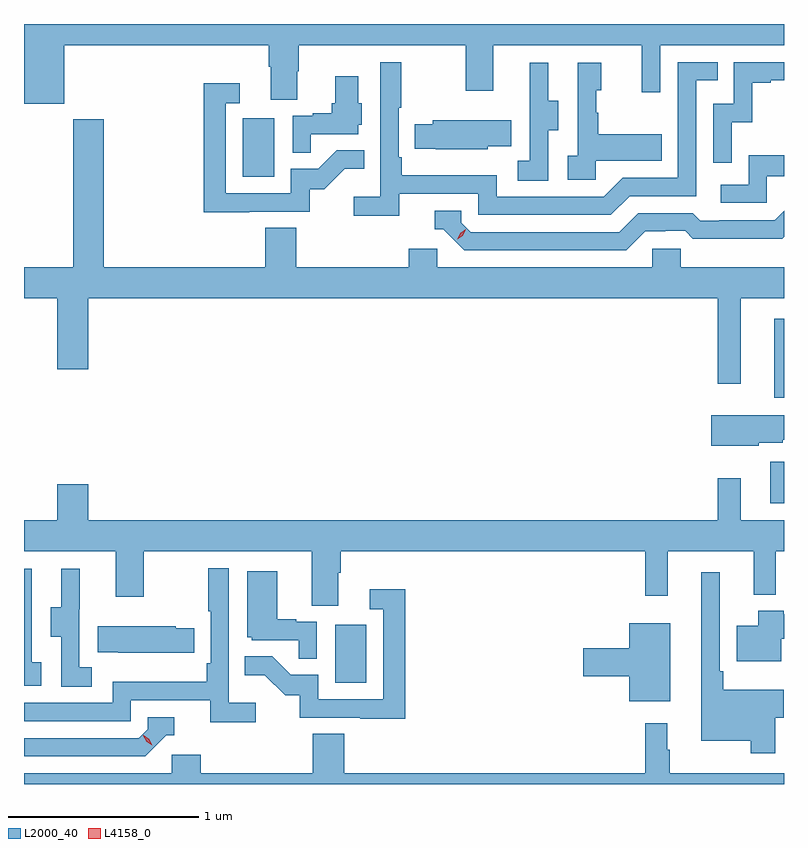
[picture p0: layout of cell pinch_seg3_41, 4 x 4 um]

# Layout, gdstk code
import gdstk
lib = gdstk.Library(unit=1e-6, precision=1e-09)
def R(c, l, rs):  # rectangles x0, y0, x1, y1
    for r in rs: c.add(gdstk.rectangle(r[:2], r[2:], *l))
def P(c, l, *ps):  # polygons
    for p in ps: c.add(gdstk.Polygon(p, *l))
L2000_40 = (2000, 40)
L4158_0 = (4158, 0)

pinch_seg3_41 = lib.new_cell('pinch_seg3_41')
R(pinch_seg3_41, L2000_40, [(1113.524,733.524,1113.688,733.831), (1115.813,734.469,1115.886,734.688), (1115.834,735.026,1115.886,735.442), (1113.038,736.188,1113.202,736.495)])
P(pinch_seg3_41, L2000_40, [(1112.098,736.88),(1113.173,736.88),(1113.173,736.768),(1113.185,736.768),(1113.185,736.594),(1113.325,736.594),(1113.325,736.743),(1113.333,736.743),(1113.333,736.88),(1114.21,736.88),(1114.21,736.641),(1114.357,736.641),(1114.357,736.88),(1115.138,736.88),(1115.138,736.632),(1115.235,736.632),(1115.235,736.88),(1115.886,736.88),(1115.886,736.992),(1111.886,736.992),(1111.886,736.571),(1112.098,736.571)],
  [(1113.86,736.098),(1114.278,736.098),(1114.278,735.987),(1114.975,735.987),(1115.074,736.086),(1115.424,736.086),(1115.424,736.695),(1115.537,736.695),(1115.537,736.791),(1115.328,736.791),(1115.328,736.182),(1115.037,736.182),(1114.938,736.083),(1114.374,736.083),(1114.374,736.195),(1113.875,736.195),(1113.875,736.291),(1113.858,736.291),(1113.858,736.552),(1113.871,736.552),(1113.871,736.792),(1113.762,736.792),(1113.762,736.084),(1113.621,736.084),(1113.621,735.982),(1113.86,735.982)],
  [(1115.61,736.475),(1115.72,736.475),(1115.72,736.683),(1115.815,736.683),(1115.815,736.695),(1115.886,736.695),(1115.886,736.791),(1115.622,736.791),(1115.622,736.572),(1115.514,736.572),(1115.514,736.263),(1115.61,736.263)],
  [(1114.896,736.271),(1115.243,736.271),(1115.243,736.411),(1114.909,736.411),(1114.909,736.526),(1114.899,736.526),(1114.899,736.644),(1114.924,736.644),(1114.924,736.789),(1114.8,736.789),(1114.8,736.298),(1114.749,736.298),(1114.749,736.173),(1114.896,736.173)],
  [(1114.644,736.432),(1114.699,736.432),(1114.699,736.587),(1114.645,736.587),(1114.645,736.789),(1114.547,736.789),(1114.547,736.575),(1114.548,736.575),(1114.548,736.271),(1114.485,736.271),(1114.485,736.168),(1114.644,736.168)],
  [(1113.395,736.413),(1113.646,736.413),(1113.646,736.461),(1113.664,736.461),(1113.664,736.575),(1113.646,736.575),(1113.646,736.717),(1113.524,736.717),(1113.524,736.575),(1113.506,736.575),(1113.506,736.522),(1113.407,736.522),(1113.407,736.509),(1113.3,736.509),(1113.3,736.315),(1113.395,736.315)],
  [(1113.071,736.005),(1113.39,736.005),(1113.39,736.122),(1113.466,736.122),(1113.573,736.229),(1113.677,736.229),(1113.677,736.328),(1113.533,736.328),(1113.435,736.23),(1113.291,736.23),(1113.291,736.101),(1112.949,736.101),(1112.949,736.575),(1113.022,736.575),(1113.022,736.681),(1112.833,736.681),(1112.833,736),(1113.071,736)],
  [(1115.659,735.548),(1115.886,735.548),(1115.886,735.712),(1115.343,735.712),(1115.343,735.81),(1115.193,735.81),(1115.193,735.712),(1114.062,735.712),(1114.062,735.81),(1113.911,735.81),(1113.911,735.712),(1113.32,735.712),(1113.32,735.92),(1113.155,735.92),(1113.155,735.712),(1112.306,735.712),(1112.306,736.492),(1112.146,736.492),(1112.146,735.712),(1111.886,735.712),(1111.886,735.548),(1112.06,735.548),(1112.06,735.174),(1112.224,735.174),(1112.224,735.548),(1115.538,735.548),(1115.538,735.099),(1115.659,735.099)],
  [(1114.326,736.349),(1114.451,736.349),(1114.451,736.486),(1114.037,736.486),(1114.037,736.464),(1113.943,736.464),(1113.943,736.335),(1114.054,736.335),(1114.054,736.334),(1114.326,736.334)],
  [(1115.796,736.191),(1115.886,736.191),(1115.886,736.3),(1115.7,736.3),(1115.7,736.146),(1115.553,736.146),(1115.553,736.05),(1115.796,736.05)],
  [(1115.155,735.9),(1115.262,735.9),(1115.262,735.903),(1115.365,735.903),(1115.407,735.861),(1115.64,735.861),(1115.64,735.863),(1115.876,735.863),(1115.886,735.873),(1115.886,736.008),(1115.838,735.96),(1115.545,735.96),(1115.545,735.957),(1115.446,735.957),(1115.407,735.996),(1115.118,735.996),(1115.019,735.897),(1114.236,735.897),(1114.188,735.945),(1114.188,736.008),(1114.049,736.008),(1114.049,735.912),(1114.092,735.912),(1114.203,735.801),(1115.056,735.801)],
  [(1115.754,734.789),(1115.88,734.789),(1115.88,734.803),(1115.886,734.803),(1115.886,734.932),(1115.504,734.932),(1115.504,734.771),(1115.754,734.771)],
  [(1113.541,734.104),(1113.554,734.104),(1113.554,734.216),(1115.155,734.216),(1115.155,733.983),(1115.273,733.983),(1115.273,734.216),(1115.726,734.216),(1115.726,733.988),(1115.843,733.988),(1115.843,734.216),(1115.886,734.216),(1115.886,734.38),(1115.659,734.38),(1115.659,734.602),(1115.538,734.602),(1115.538,734.38),(1112.224,734.38),(1112.224,734.569),(1112.06,734.569),(1112.06,734.38),(1111.886,734.38),(1111.886,734.216),(1112.369,734.216),(1112.369,733.977),(1112.517,733.977),(1112.517,734.216),(1113.401,734.216),(1113.401,733.93),(1113.541,733.93)],
  [(1113.106,733.42),(1112.964,733.42),(1112.964,734.128),(1112.856,734.128),(1112.856,733.9),(1112.868,733.9),(1112.868,733.627),(1112.848,733.627),(1112.848,733.531),(1112.352,733.531),(1112.352,733.419),(1111.886,733.419),(1111.886,733.323),(1112.448,733.323),(1112.448,733.434),(1112.867,733.434),(1112.867,733.318),(1113.106,733.318)],
  [(1111.978,733.634),(1111.926,733.634),(1111.926,734.125),(1111.886,734.125),(1111.886,733.509),(1111.978,733.509)],
  [(1112.242,733.607),(1112.178,733.607),(1112.178,733.911),(1112.18,733.911),(1112.18,734.125),(1112.081,734.125),(1112.081,733.923),(1112.027,733.923),(1112.027,733.768),(1112.082,733.768),(1112.082,733.504),(1112.242,733.504)],
  [(1113.426,733.845),(1113.32,733.845),(1113.32,733.858),(1113.22,733.858),(1113.22,734.113),(1113.062,734.113),(1113.062,733.764),(1113.084,733.764),(1113.084,733.749),(1113.331,733.749),(1113.331,733.651),(1113.426,733.651)],
  [(1115.84,733.342),(1115.884,733.342),(1115.884,733.489),(1115.567,733.489),(1115.567,733.585),(1115.547,733.585),(1115.547,734.107),(1115.45,734.107),(1115.45,733.22),(1115.712,733.22),(1115.712,733.155),(1115.84,733.155)],
  [(1113.893,734.017),(1113.705,734.017),(1113.705,733.911),(1113.777,733.911),(1113.777,733.437),(1113.435,733.437),(1113.435,733.566),(1113.291,733.566),(1113.193,733.664),(1113.049,733.664),(1113.049,733.565),(1113.153,733.565),(1113.26,733.458),(1113.337,733.458),(1113.337,733.341),(1113.655,733.341),(1113.655,733.336),(1113.893,733.336)],
  [(1115.872,733.756),(1115.886,733.756),(1115.886,733.885),(1115.885,733.885),(1115.885,733.903),(1115.75,733.903),(1115.75,733.825),(1115.636,733.825),(1115.636,733.637),(1115.872,733.637)],
  [(1115.287,733.837),(1115.072,733.837),(1115.072,733.706),(1114.83,733.706),(1114.83,733.559),(1115.072,733.559),(1115.072,733.427),(1115.287,733.427)],
  [(1112.783,733.812),(1112.685,733.812),(1112.685,733.822),(1112.275,733.822),(1112.275,733.685),(1112.383,733.685),(1112.383,733.682),(1112.783,733.682)],
  [(1112.634,733.248),(1112.677,733.248),(1112.677,733.344),(1112.538,733.344),(1112.538,733.281),(1112.49,733.233),(1111.886,733.233),(1111.886,733.137),(1112.523,733.137)],
  [(1115.886,733.048),(1115.284,733.048),(1115.284,733.172),(1115.272,733.172),(1115.272,733.312),(1115.155,733.312),(1115.155,733.048),(1113.572,733.048),(1113.572,733.256),(1113.407,733.256),(1113.407,733.048),(1112.816,733.048),(1112.816,733.146),(1112.664,733.146),(1112.664,733.048),(1111.886,733.048),(1111.886,732.992),(1115.886,732.992)])
P(pinch_seg3_41, L4158_0, [(1112.562,733.195),(1112.531,733.215),(1112.514,733.247),(1112.514,733.248),(1112.515,733.248),(1112.545,733.228),(1112.562,733.196),(1112.562,733.195)],
  [(1114.166,735.858),(1114.166,735.858),(1114.181,735.891),(1114.212,735.911),(1114.212,735.911),(1114.212,735.911),(1114.196,735.878),(1114.166,735.858)])

lib.write_gds('pinch_seg3_41.gds')
